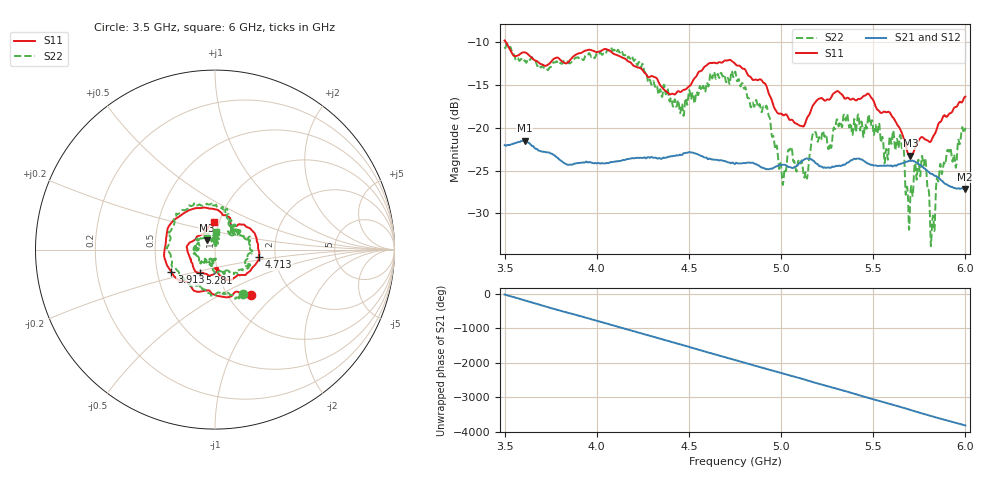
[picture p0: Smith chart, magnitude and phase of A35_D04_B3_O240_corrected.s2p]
! Created with skrf 1.9.0 (http://scikit-rf.org).
# Hz S RI R 50.0
!freq ReS11 ImS11 ReS21 ImS21 ReS12 ImS12 ReS22 ImS22
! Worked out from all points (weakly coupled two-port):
!   1601 points, 3.5 GHz to 6 GHz, reference 50 ohm
!   highest |S21| = -21.52 dB at 3.609 GHz (marker M1); lowest = -27.1 dB at 5.995 GHz (marker M2)
!   lowest |S11| = -23.3 dB at 5.702 GHz (marker M3), VSWR 1.15, Z = 45.5 + j4.75 ohm
!   |S11| at or under -10 dB: 3.507 GHz to end of sweep
!   |S22| runs from -33.8 to -10.1 dB; largest |S21 - S12| = 0.00098
!   S11 on the Smith chart (normalised r, x): 3.5 GHz: 1.27, -0.72; 3.913 GHz: 0.59, -0.16; 4.713 GHz: 1.64, -0.15; 5.281 GHz: 0.81, -0.22; 6 GHz: 0.94, +0.29
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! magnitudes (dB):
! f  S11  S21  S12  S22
! 3.5 GHz  -9.8  -22.0  -22.0  -10.6
! 3.609 GHz  -11.2  -21.5  -21.5  -12.1
! 3.913 GHz  -11.3  -24.1  -24.0  -12.1
! 3.917 GHz  -11.2  -24.1  -24.0  -12.0
! 4.125 GHz  -11.6  -23.9  -23.8  -11.2
! 4.334 GHz  -14.6  -23.6  -23.5  -16.1
! 4.713 GHz  -12.1  -24.0  -24.0  -14.2
! 4.75 GHz  -12.5  -24.2  -24.1  -13.5
! 4.927 GHz  -15.5  -24.8  -24.8  -17.9
! 5.014 GHz  -18.5  -24.3  -24.2  -26.0
! 5.048 GHz  -19.1  -24.6  -24.6  -22.5
! 5.134 GHz  -19.2  -23.6  -23.5  -25.3
! 5.167 GHz  -17.7  -23.7  -23.7  -21.2
! 5.281 GHz  -16.1  -24.6  -24.5  -20.6
! 5.584 GHz  -18.1  -24.4  -24.4  -22.3
! 5.655 GHz  -20.6  -24.2  -24.1  -22.3
! 5.702 GHz  -23.3  -23.9  -23.8  -27.8
! 5.773 GHz  -21.2  -24.7  -24.6  -24.4
! 5.822 GHz  -21.2  -25.4  -25.4  -30.6
! 5.855 GHz  -19.5  -25.9  -25.8  -26.1
! 5.995 GHz  -16.4  -27.1  -27.0  -20.5
! 6 GHz  -16.4  -27.1  -27.0  -20.0
